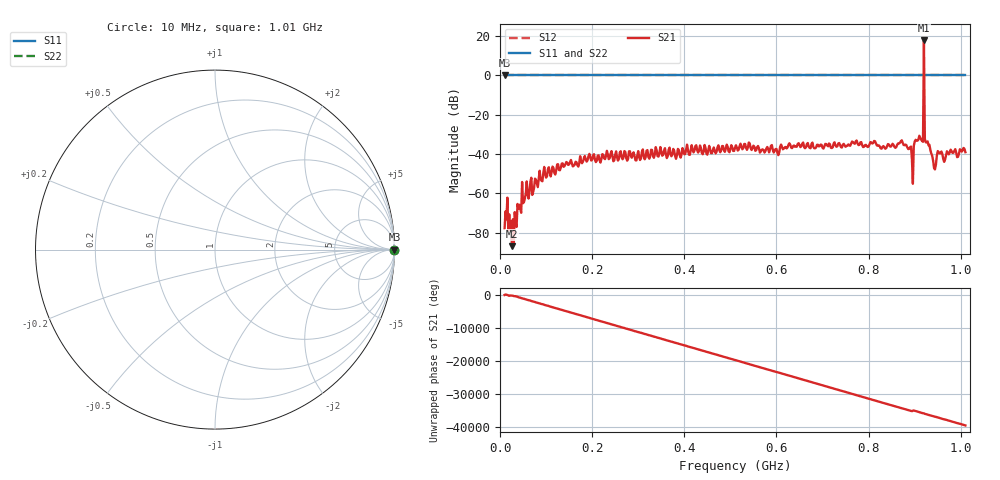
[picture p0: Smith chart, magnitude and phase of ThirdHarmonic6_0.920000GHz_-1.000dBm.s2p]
! 8/16/2025 6:03:46 AM
! C:\ANRITSUVNA\TEMP\TEMP.S2P
! CHANNEL.1
! TR.MEASUREMENT
! RAW.DATA
! RF.CORRECTION.OFF
! AVERAGING.OFF
! IF.BANDWIDTH: 5KHZ
! SWEEPTYPE:  FREQ.SWEEP(Linear)
! Reference Plane Port Info
! PORT:  PORT1  PORT2
! DISTANCE:  0  m  0  m
! TIME:  0  s  0  s
! PHASE.OFFSET:  0  deg.  0  deg.
! LOSS:  0  dB  0  dB
! REF.LOSS:  0  dB  0  dB
! REF.FREQ:  0  Hz  0  Hz
! Power Info
! POWER:  -20  dBm  -20  dBm
! EFF.POWER:  -20  dBm  -20  dBm
! SOURCE.ATTEN:  0  dB  0  dB
! TEST.ATTEN:  0  dB  0  dB
# GHZ S RI R 50.0
! FREQ.GHZ  S11RE  S11IM  S21RE  S21IM  S12RE  S12IM  S22RE  S22IM
!; PortSelection: Port_12
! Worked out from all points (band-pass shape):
!   501 points, 10 MHz to 1.01 GHz, reference 50 ohm
!   highest |S21| = 17.61 dB at 920 MHz (marker M1); lowest = -86.7 dB at 26 MHz (marker M2)
!   |S21| within 3 dB of the highest: 919.8832 MHz to 920.12 MHz (236.8 kHz wide, 0.0257 % of centre)
!   lowest |S11| = 0.0 dB at 10 MHz (marker M3)
!   |S11| at or under -10 dB: nowhere
!   |S22| runs from 0.0 to 0.0 dB; largest |S21 - S12| = 7.8
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0.01  1 0  0.000132 -1.18e-05  1 0  1 0
0.016  1 0  0.000779 -9.59e-05  1 0  1 0
0.026  1 0  -4.58e-05 5.7e-06  1 0  1 0
0.052  1 0  4.88e-05 -0.000603  1 0  1 0
0.082  1 0  -0.000937 0.00111  1 0  1 0
0.178  1 0  -0.00576 -0.000963  1 0  1 0
0.344  1 0  0.00827 -0.00244  1 0  1 0
0.51  1 0  -0.0132 0.00563  1 0  1 0
0.678  1 0  -0.0137 -0.014  1 0  1 0
0.844  1 0  0.0161 0.00655  1 0  1 0
0.872  1 0  0.019 -0.0116  1 0  1 0
0.888  1 0  0.00784 0.011  1 0  1 0
0.892  1 0  -0.00357 -0.0151  1 0  1 0
0.902  1 0  -0.0183 -0.0138  1 0  1 0
0.914  1 0  0.00983 0.021  1 0  1 0
0.916  1 0  0.0207 -0.00585  1 0  1 0
0.92  1 0  -1.383 -7.466  1 0  1 0
0.924  1 0  0.0193 0.0046  1 0  1 0
0.926  1 0  0.00735 -0.0183  1 0  1 0
0.942  1 0  0.00445 0.000144  1 0  1 0
0.954  1 0  0.000649 -0.0104  1 0  1 0
1.01  1 0  -0.0111 -0.00161  1 0  1 0
